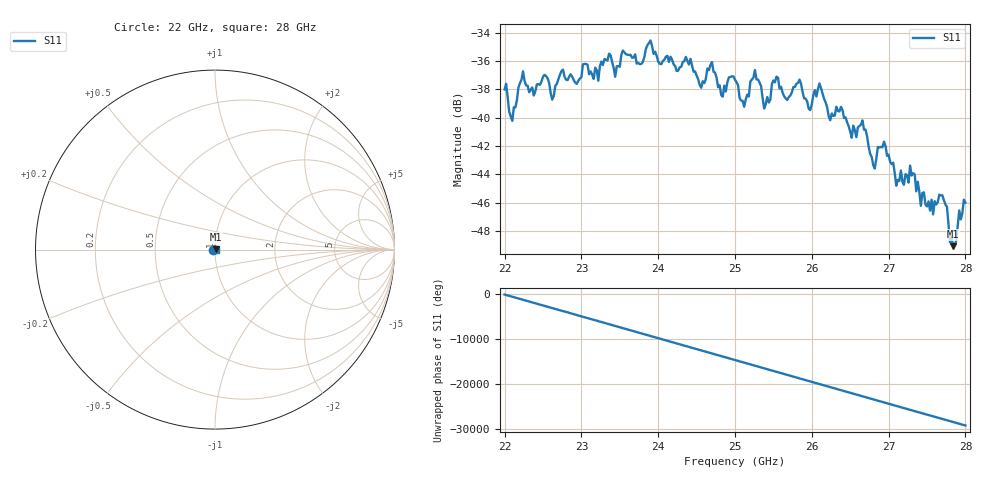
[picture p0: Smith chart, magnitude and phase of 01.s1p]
#  HZ  S  RI  R  50.00
! Rohde & Schwarz ZVA40 4Ports - Version 3.90 - 1145.1110k42 SN: 100403
! Date: 2023-10-04 08:25:01
! Measurement: S12
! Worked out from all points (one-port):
!   301 points, 22 GHz to 28 GHz, reference 50 ohm
!   lowest |S11| = -49.1 dB at 27.84 GHz (marker M1), VSWR 1.01, Z = 50.3 + j0.0708 ohm
!   |S11| at or under -10 dB: start of sweep to end of sweep
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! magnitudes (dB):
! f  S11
! 22 GHz  -38.0
! 22.1 GHz  -40.2
! 22.24 GHz  -36.7
! 22.62 GHz  -38.7
! 22.76 GHz  -36.6
! 23.5 GHz  -36.4
! 23.9 GHz  -34.5
! 24.26 GHz  -36.7
! 25 GHz  -37.3
! 25.12 GHz  -39.2
! 25.26 GHz  -36.6
! 25.38 GHz  -39.4
! 25.54 GHz  -37.1
! 25.76 GHz  -37.8
! 25.98 GHz  -39.5
! 26.1 GHz  -37.6
! 26.24 GHz  -40.2
! 26.38 GHz  -39.2
! 26.5 GHz  -41.0
! 26.66 GHz  -40.2
! 26.82 GHz  -43.6
! 26.94 GHz  -41.7
! 27.1 GHz  -44.8
! 27.26 GHz  -44.6
! 27.58 GHz  -46.8
! 27.7 GHz  -45.5
! 27.84 GHz  -49.1
! 28 GHz  -46.0
